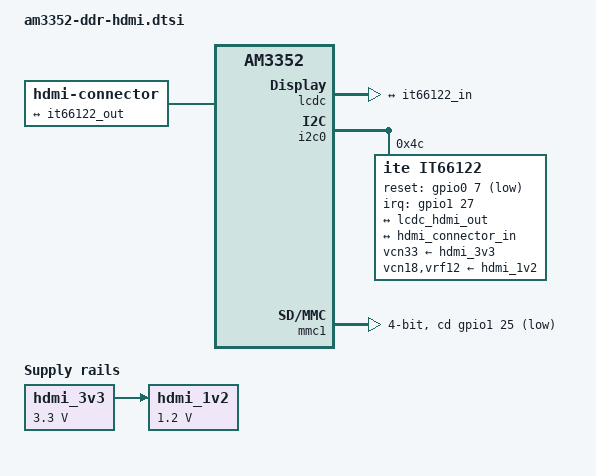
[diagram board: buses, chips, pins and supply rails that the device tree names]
// SPDX-License-Identifier: (GPL-2.0-only OR BSD-2-Clause)
// Board-specific include; requires the normal AM335x SoC and board power DTS.
// The physical wiring contract is cpu-hdmi-pin-contract.json.
#include <dt-bindings/gpio/gpio.h>
#include <dt-bindings/interrupt-controller/irq.h>
#include <dt-bindings/pinctrl/am33xx.h>

/ {
	hdmi_3v3: regulator-hdmi-3v3 {
		compatible = "regulator-fixed";
		regulator-name = "HDMI_3V3";
		regulator-min-microvolt = <3300000>;
		regulator-max-microvolt = <3300000>;
		regulator-boot-on;
		regulator-always-on;
	};

	hdmi_1v2: regulator-hdmi-1v2 {
		compatible = "regulator-fixed";
		regulator-name = "HDMI_1V2";
		regulator-min-microvolt = <1200000>;
		regulator-max-microvolt = <1200000>;
		vin-supply = <&hdmi_3v3>;
		regulator-boot-on;
		regulator-always-on;
	};

	hdmi_connector: connector-hdmi {
		compatible = "hdmi-connector";
		label = "HDMI";
		type = "a";
		port {
			hdmi_connector_in: endpoint {
				remote-endpoint = <&it66122_out>;
			};
		};
	};
};

&am33xx_pinmux {
	hdmi_rgb24_pins: hdmi-rgb24-pins {
		pinctrl-single,pins = <
			AM33XX_PADCONF(AM335X_PIN_LCD_DATA0, PIN_OUTPUT, MUX_MODE0)
			AM33XX_PADCONF(AM335X_PIN_LCD_DATA1, PIN_OUTPUT, MUX_MODE0)
			AM33XX_PADCONF(AM335X_PIN_LCD_DATA2, PIN_OUTPUT, MUX_MODE0)
			AM33XX_PADCONF(AM335X_PIN_LCD_DATA3, PIN_OUTPUT, MUX_MODE0)
			AM33XX_PADCONF(AM335X_PIN_LCD_DATA4, PIN_OUTPUT, MUX_MODE0)
			AM33XX_PADCONF(AM335X_PIN_LCD_DATA5, PIN_OUTPUT, MUX_MODE0)
			AM33XX_PADCONF(AM335X_PIN_LCD_DATA6, PIN_OUTPUT, MUX_MODE0)
			AM33XX_PADCONF(AM335X_PIN_LCD_DATA7, PIN_OUTPUT, MUX_MODE0)
			AM33XX_PADCONF(AM335X_PIN_LCD_DATA8, PIN_OUTPUT, MUX_MODE0)
			AM33XX_PADCONF(AM335X_PIN_LCD_DATA9, PIN_OUTPUT, MUX_MODE0)
			AM33XX_PADCONF(AM335X_PIN_LCD_DATA10, PIN_OUTPUT, MUX_MODE0)
			AM33XX_PADCONF(AM335X_PIN_LCD_DATA11, PIN_OUTPUT, MUX_MODE0)
			AM33XX_PADCONF(AM335X_PIN_LCD_DATA12, PIN_OUTPUT, MUX_MODE0)
			AM33XX_PADCONF(AM335X_PIN_LCD_DATA13, PIN_OUTPUT, MUX_MODE0)
			AM33XX_PADCONF(AM335X_PIN_LCD_DATA14, PIN_OUTPUT, MUX_MODE0)
			AM33XX_PADCONF(AM335X_PIN_LCD_DATA15, PIN_OUTPUT, MUX_MODE0)
			/* AD15..AD8 supply LCD_DATA16..LCD_DATA23 in reverse order. */
			AM33XX_PADCONF(AM335X_PIN_GPMC_AD15, PIN_OUTPUT, MUX_MODE1)
			AM33XX_PADCONF(AM335X_PIN_GPMC_AD14, PIN_OUTPUT, MUX_MODE1)
			AM33XX_PADCONF(AM335X_PIN_GPMC_AD13, PIN_OUTPUT, MUX_MODE1)
			AM33XX_PADCONF(AM335X_PIN_GPMC_AD12, PIN_OUTPUT, MUX_MODE1)
			AM33XX_PADCONF(AM335X_PIN_GPMC_AD11, PIN_OUTPUT, MUX_MODE1)
			AM33XX_PADCONF(AM335X_PIN_GPMC_AD10, PIN_OUTPUT, MUX_MODE1)
			AM33XX_PADCONF(AM335X_PIN_GPMC_AD9, PIN_OUTPUT, MUX_MODE1)
			AM33XX_PADCONF(AM335X_PIN_GPMC_AD8, PIN_OUTPUT, MUX_MODE1)
			AM33XX_PADCONF(AM335X_PIN_LCD_HSYNC, PIN_OUTPUT_PULLDOWN, MUX_MODE0)
			AM33XX_PADCONF(AM335X_PIN_LCD_VSYNC, PIN_OUTPUT_PULLDOWN, MUX_MODE0)
			AM33XX_PADCONF(AM335X_PIN_LCD_PCLK, PIN_OUTPUT_PULLDOWN, MUX_MODE0)
			AM33XX_PADCONF(AM335X_PIN_LCD_AC_BIAS_EN, PIN_OUTPUT_PULLDOWN, MUX_MODE0)
		>;
	};

	hdmi_control_pins: hdmi-control-pins {
		pinctrl-single,pins = <
			/* C18: command into the physical reset-qualification gate. */
			AM33XX_PADCONF(AM335X_PIN_ECAP0_IN_PWM0_OUT, PIN_OUTPUT_PULLUP, MUX_MODE7)
			/* V17: IT66122 open-drain interrupt, externally pulled to 3.3V. */
			AM33XX_PADCONF(AM335X_PIN_GPMC_A11, PIN_INPUT_PULLUP, MUX_MODE7)
		>;
	};

	hdmi_mmc0_pins: hdmi-mmc0-pins {
		pinctrl-single,pins = <
			AM33XX_PADCONF(AM335X_PIN_MMC0_DAT0, PIN_INPUT_PULLUP, MUX_MODE0)
			AM33XX_PADCONF(AM335X_PIN_MMC0_DAT1, PIN_INPUT_PULLUP, MUX_MODE0)
			AM33XX_PADCONF(AM335X_PIN_MMC0_DAT2, PIN_INPUT_PULLUP, MUX_MODE0)
			AM33XX_PADCONF(AM335X_PIN_MMC0_DAT3, PIN_INPUT_PULLUP, MUX_MODE0)
			AM33XX_PADCONF(AM335X_PIN_MMC0_CLK, PIN_INPUT_PULLUP, MUX_MODE0)
			AM33XX_PADCONF(AM335X_PIN_MMC0_CMD, PIN_INPUT_PULLUP, MUX_MODE0)
			/* U16 GPIO1_25 replaces U10, now needed for LCD_DATA23. */
			AM33XX_PADCONF(AM335X_PIN_GPMC_A9, PIN_INPUT_PULLUP, MUX_MODE7)
		>;
	};
};

&lcdc {
	status = "okay";
	pinctrl-names = "default";
	pinctrl-0 = <&hdmi_rgb24_pins>;
	/* TI SPRZ360I Fig2: correct RGB888/XRGB8888; 16-bit mode is BGR565. */
	blue-and-red-wiring = "crossed";
	max-pixelclock = <126000>;
	port {
		lcdc_hdmi_out: endpoint {
			remote-endpoint = <&it66122_in>;
		};
	};
};

&i2c0 {
	status = "okay";
	it66122: bridge-hdmi@4c {
		compatible = "ite,it66122";
		reg = <0x4c>;
		pinctrl-names = "default";
		pinctrl-0 = <&hdmi_control_pins>;
		vcn33-supply = <&hdmi_3v3>;
		/* Legacy driver name: IT66122 core is physically 1.2V, not 1.8V. */
		vcn18-supply = <&hdmi_1v2>;
		vrf12-supply = <&hdmi_1v2>;
		reset-gpios = <&gpio0 7 GPIO_ACTIVE_LOW>;
		interrupt-parent = <&gpio1>;
		interrupts = <27 IRQ_TYPE_LEVEL_LOW>;
		/* No #sound-dai-cells or audio card: this revision is video-only. */
		ports {
			#address-cells = <1>;
			#size-cells = <0>;
			port@0 {
				reg = <0>;
				it66122_in: endpoint {
					bus-width = <24>;
					remote-endpoint = <&lcdc_hdmi_out>;
				};
			};
			port@1 {
				reg = <1>;
				it66122_out: endpoint {
					remote-endpoint = <&hdmi_connector_in>;
				};
			};
		};
	};
};

/* Linux label mmc1 is the SoC's physical MMC0 controller. */
&mmc1 {
	status = "okay";
	pinctrl-names = "default";
	pinctrl-0 = <&hdmi_mmc0_pins>;
	bus-width = <4>;
	cd-gpios = <&gpio1 25 GPIO_ACTIVE_LOW>;
};
